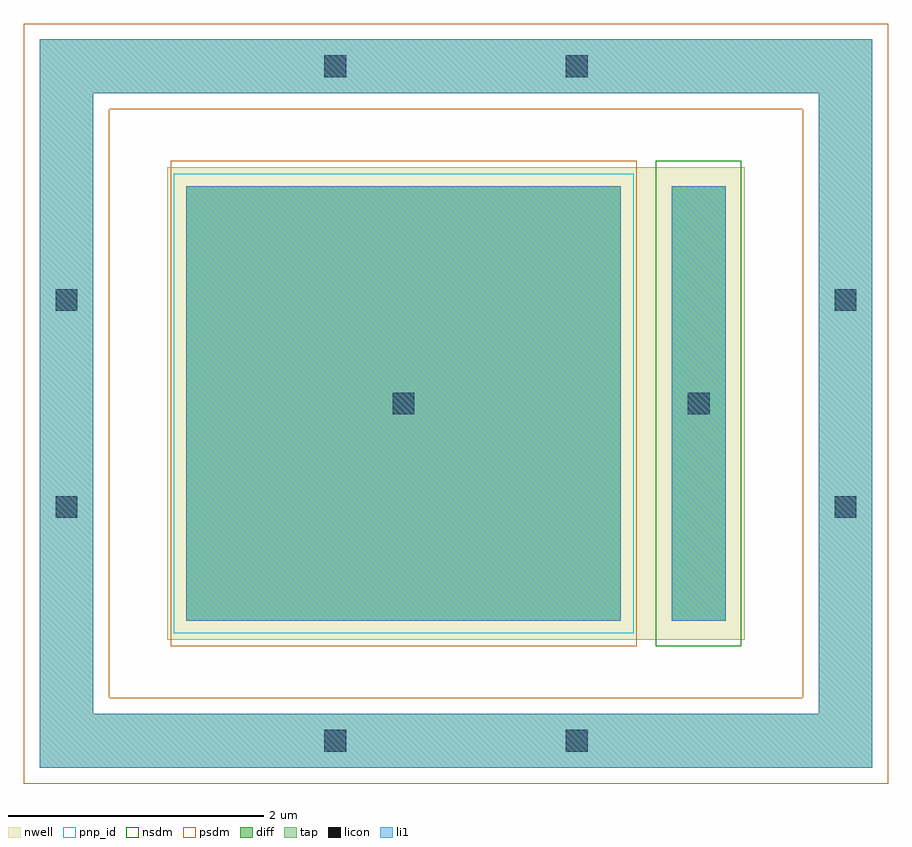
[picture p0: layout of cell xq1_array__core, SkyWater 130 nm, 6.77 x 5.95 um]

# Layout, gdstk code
import gdstk
lib = gdstk.Library(unit=1e-6, precision=1e-09)
def R(c, l, rs):  # rectangles x0, y0, x1, y1
    for r in rs: c.add(gdstk.rectangle(r[:2], r[2:], *l))
def P(c, l, *ps):  # polygons
    for p in ps: c.add(gdstk.Polygon(p, *l))
nwell = (64, 20)
diff = (65, 20)
tap = (65, 44)
licon = (66, 44)
li1 = (67, 20)
pnp_id = (82, 44)
nsdm = (93, 44)
psdm = (94, 20)

xq1_array__core = lib.new_cell('xq1_array__core')
R(xq1_array__core, nwell, [(-0.15,-0.15,4.37,3.55)])
R(xq1_array__core, diff, [(0,0,3.4,3.4), (3.8,0,4.22,3.4)])
R(xq1_array__core, tap, [(3.8,0,4.22,3.4)])
P(xq1_array__core, tap, [(-1.15,-1.15),(-1.15,4.13),(-0.73,4.13),(-0.73,-0.73),(4.95,-0.73),(4.95,4.13),(-1.15,4.13),(-1.15,4.55),(5.37,4.55),(5.37,-1.15)])
R(xq1_array__core, licon, [(1.08,-1.025,1.25,-0.855), (2.97,-1.025,3.14,-0.855), (-1.025,0.805,-0.855,0.975), (5.075,0.805,5.245,0.975), (1.615,1.615,1.785,1.785), (3.925,1.615,4.095,1.785), (-1.025,2.425,-0.855,2.595), (5.075,2.425,5.245,2.595), (1.08,4.255,1.25,4.425), (2.97,4.255,3.14,4.425)])
R(xq1_array__core, li1, [(0,0,3.4,3.4), (3.8,0,4.22,3.4)])
P(xq1_array__core, li1, [(-1.15,-1.15),(-1.15,4.13),(-0.73,4.13),(-0.73,-0.73),(4.95,-0.73),(4.95,4.13),(-1.15,4.13),(-1.15,4.55),(5.37,4.55),(5.37,-1.15)])
R(xq1_array__core, pnp_id, [(-0.1,-0.1,3.5,3.5)])
R(xq1_array__core, nsdm, [(3.675,-0.2,4.345,3.6)])
R(xq1_array__core, psdm, [(-0.125,-0.2,3.525,3.6)])
P(xq1_array__core, psdm, [(-1.275,-1.275),(-1.275,4.005),(-0.605,4.005),(-0.605,-0.605),(4.825,-0.605),(4.825,4.005),(-1.275,4.005),(-1.275,4.675),(5.495,4.675),(5.495,-1.275)])

lib.write_gds('xq1_array__core.gds')
